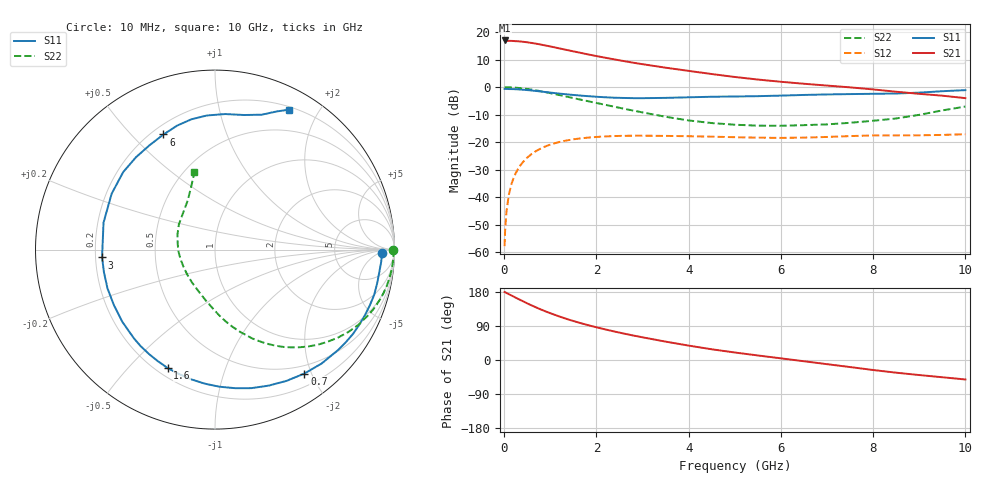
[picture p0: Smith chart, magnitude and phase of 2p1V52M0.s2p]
! (c) 2009  Infineon Technologies AG, Munich
! Infineon Technologies  Discrete & RF Semiconductors
! BFP420
! VCE =  1.5 V,  IC =  2.0 mA
! Common Emitter S-Parameters:  Nov 2009
# GHz  S  MA  R  50
!  f  S11  S21  S12  S22
! GHz  MAG  ANG  MAG  ANG  MAG  ANG  MAG  ANG
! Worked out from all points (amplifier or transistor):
!   46 points, 10 MHz to 10 GHz, reference 50 ohm
!   highest |S21| = 17.0 dB at 10 MHz (marker M1)
!   |S21| within 3 dB of that: start of sweep to 1.231 GHz
!   unconditionally stable (mu >= 1): 3.924 GHz to end of sweep
!   at 300 MHz: K = 0.04, MSG = 23.2 dB, |S12| = -29.7 dB
!   at 1.7 GHz: K = 0.36, MSG = 15.4 dB, |S12| = -18.5 dB
!   at 10 GHz: K = 1.21, MAG = 3.8 dB, |S12| = -17.1 dB
!   lowest NFmin = 0.53 dB at 900 MHz
!   S11 on the Smith chart (normalised r, x): 10 MHz: 26, -7; 700 MHz: 0.38, -1.89; 1.6 GHz: 0.24, -0.65; 3 GHz: 0.23, -0.03; 6 GHz: 0.24, +0.62; 10 GHz: 0.23, +1.64
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0.01  0.9293 -1.1  7.041 179.4  0.0013 101.1  0.9931 0.0
0.02  0.9292 -1.6  6.844 179.1  0.0024 85.1  0.9945 -0.9
0.05  0.9287 -4.0  6.887 176.9  0.0055 89.0  0.9946 -2.4
0.15  0.9228 -11.9  6.911 170.7  0.0166 83.1  0.9891 -7.3
0.3  0.9117 -23.7  6.798 161.4  0.0327 76.4  0.9699 -14.4
0.45  0.8928 -35.4  6.601 152.5  0.0479 69.5  0.9399 -21.2
0.7  0.8514 -54.2  6.139 138.4  0.0699 58.9  0.872 -31.9
0.9  0.8149 -68.4  5.696 128.2  0.0843 51.3  0.8107 -39.3
1.1  0.7804 -81.7  5.261 119.1  0.0961 44.5  0.7489 -46.1
1.4  0.7346 -100.5  4.651 106.6  0.1094 35.6  0.6607 -55.1
1.6  0.7106 -111.8  4.293 99.3  0.1158 30.4  0.6078 -60.2
1.7  0.6981 -117.3  4.126 95.9  0.1187 28.1  0.5833 -62.6
2.2  0.6547 -142.0  3.413 80.5  0.1277 17.9  0.4766 -73.3
2.6  0.6367 -160.2  2.97 69.6  0.1308 11.0  0.4057 -81.4
3  0.6307 -176.0  2.612 59.9  0.1315 5.5  0.3481 -89.0
3.5  0.639 166.4  2.257 48.5  0.1304 -0.2  0.2901 -99.8
4.5  0.6695 139.8  1.731 28.3  0.1263 -8.1  0.223 -125.3
5.5  0.6864 122.1  1.375 12.0  0.1211 -12.1  0.2001 -150.9
6  0.7027 114.1  1.252 4.4  0.12 -12.9  0.1993 -164.7
7  0.7378 100.3  1.068 -11.0  0.1248 -14.5  0.2111 170.2
8.5  0.7671 77.8  0.826 -33.5  0.1333 -21.8  0.2704 131.2
10  0.8832 62.0  0.632 -51.4  0.1398 -25.9  0.445 104.9
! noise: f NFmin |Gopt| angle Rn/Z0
0.9  0.53  0.47  33  0.22
1.8  1.03  0.29  77  0.17
2.4  1.13  0.31  102  0.16
3  1.32  0.31  136  0.12
4  1.57  0.37  -168  0.1
5  1.96  0.42  -129  0.28
6  2.72  0.51  -111  0.37
